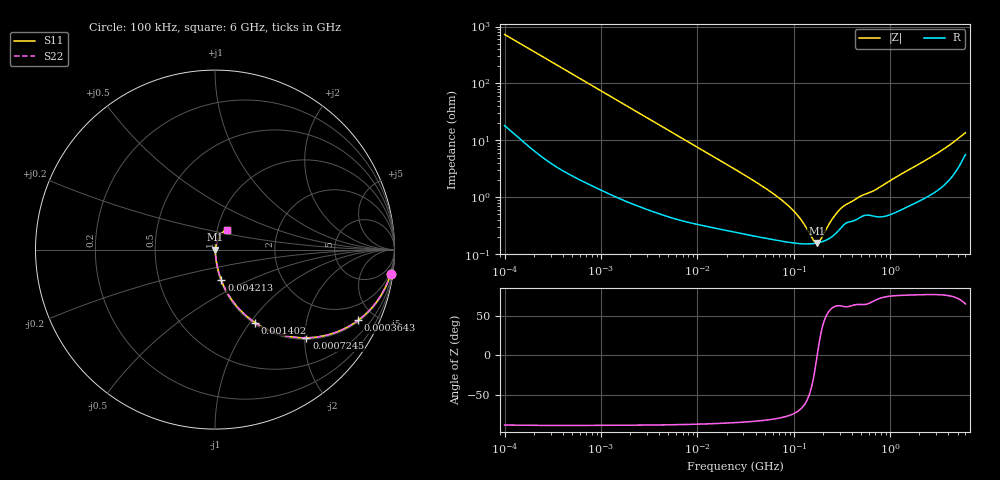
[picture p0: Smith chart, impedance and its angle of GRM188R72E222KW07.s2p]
!Murata Part Number: GRM188R72E222KW07
!These Parameters are Measured in Series Mode Connection
!Data Generated on Mar 30, 2021
!  o--ll--o
!Port1  Port2
!  o------o
!Operation Temp=25[degC], DC Bias Voltage=0[V]
!Freq. Start=100[kHz] Stop=6[GHz] 401[Steps]
# Hz S RI R 50
!Freq.(Hz) S11(Real) S11(Imag) S21(Real) S21(Imag) S12(Real) S12(Imag) S22(Real) S22(Imag)
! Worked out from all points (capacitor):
!   401 points, 100 kHz to 6 GHz, reference 50 ohm
!   read as one part in series: C = 2.19 nF near 105.7 kHz
!   lowest |Z| = 157 mohm at 172.7 MHz (marker M1)
!   series resonance near 174.2 MHz, so ESL is about 380 pH
!   S11 on the Smith chart (normalised r, x): 100 kHz: 1, -14; 364.3 kHz: 1.06, -4.03; 724.5 kHz: 1.03, -2.04; 1.402 MHz: 1.02, -1.06; 4.213 MHz: 1.01, -0.36; 6 GHz: 1.11, +0.25
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100000  0.9781 -0.1344  0.0219 0.1344  0.0219 0.1344  0.9781 -0.1344
210148  0.9197 -0.2629  0.0803 0.2629  0.0803 0.2629  0.9197 -0.2629
364278  0.7985 -0.3932  0.2015 0.3932  0.2015 0.3932  0.7985 -0.3932
631452  0.5753 -0.486  0.4247 0.486  0.4247 0.486  0.5753 -0.486
724548  0.5088 -0.4915  0.4912 0.4915  0.4912 0.4915  0.5088 -0.4915
1402027  0.2233 -0.4069  0.7767 0.4069  0.7767 0.4069  0.2233 -0.4069
2237833  0.1052 -0.2959  0.8948 0.2959  0.8948 0.2959  0.1052 -0.2959
3987316  0.0388 -0.1798  0.9612 0.1798  0.9612 0.1798  0.0388 -0.1798
4212806  0.0353 -0.171  0.9647 0.171  0.9647 0.171  0.0353 -0.171
9100013  0.0102 -0.0819  0.9898 0.0819  0.9898 0.0819  0.0102 -0.0819
2.517799e7  0.0033 -0.0299  0.9967 0.0299  0.9967 0.0299  0.0033 -0.0299
5.291103e7  0.00207 -0.0136  0.9979 0.0136  0.9979 0.0136  0.00207 -0.0136
8.44535e7  0.00169 -0.00732  0.9983 0.00732  0.9983 0.00732  0.00169 -0.00732
1.174795e8  0.00154 -0.00381  0.9985 0.00381  0.9985 0.00381  0.00154 -0.00381
1.546735e8  0.00153 -0.00114  0.9985 0.00114  0.9985 0.00114  0.00153 -0.00114
1.726623e8  0.00157 -8.69e-05  0.9984 8.69e-05  0.9984 8.69e-05  0.00157 -8.69e-05
1.87514e8  0.00162 0.000711  0.9984 -0.000711  0.9984 -0.000711  0.00162 0.000711
2.468808e8  0.00203 0.00348  0.998 -0.00348  0.998 -0.00348  0.00203 0.00348
3.162247e8  0.00309 0.0059  0.9969 -0.0059  0.9969 -0.0059  0.00309 0.0059
9.76689e8  0.00521 0.0184  0.9948 -0.0184  0.9948 -0.0184  0.00521 0.0184
2.934752e9  0.0152 0.0539  0.9848 -0.0539  0.9848 -0.0539  0.0152 0.0539
6e9  0.0663 0.1094  0.9337 -0.1094  0.9337 -0.1094  0.0663 0.1094
